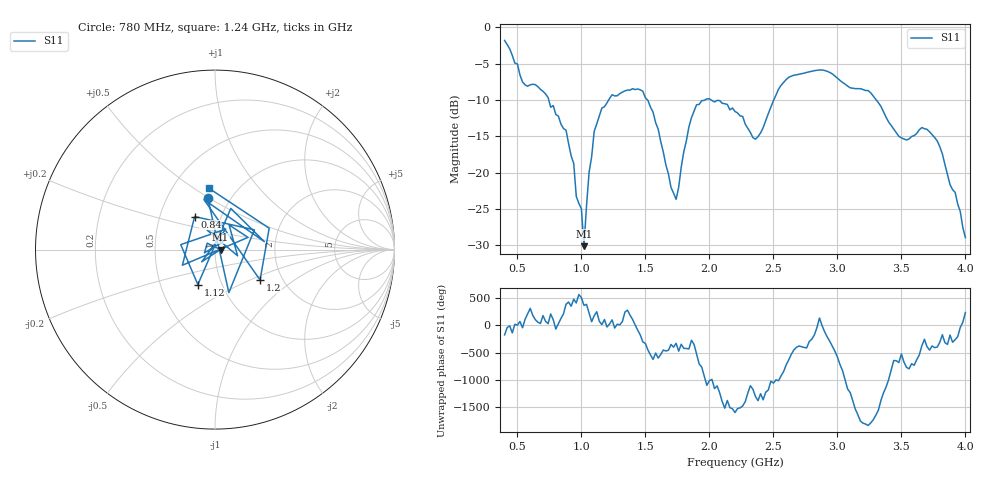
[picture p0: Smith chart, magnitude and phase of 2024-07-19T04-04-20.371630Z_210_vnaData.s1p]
!Created with skrf (http://scikit-rf.org).
# Hz S RI R 50.0
!freq ReS11 ImS11
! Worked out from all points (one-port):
!   181 points, 400 MHz to 4 GHz, reference 50 ohm
!   lowest |S11| = -30.1 dB at 1.02 GHz (marker M1), VSWR 1.06, Z = 53.2 - j0.0155 ohm
!   |S11| at or under -10 dB: 745.1 MHz to 1.212 GHz (467.4 MHz wide, 47.8 % of centre); 2.015 GHz to 2.503 GHz (487.5 MHz wide, 21.6 % of centre); 3.304 GHz to end of sweep (the widest 3 of 4)
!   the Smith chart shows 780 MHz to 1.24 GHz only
!   S11 on the Smith chart (normalised r, x): 780 MHz: 0.79, +0.49; 840 MHz: 0.75, +0.29; 1.12 GHz: 0.77, -0.31; 1.2 GHz: 1.54, -0.57; 1.24 GHz: 0.74, +0.58
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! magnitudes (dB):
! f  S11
! 400 MHz  -1.8
! 540 MHz  -7.5
! 780 MHz  -10.8
! 840 MHz  -13.3
! 860 MHz  -13.9
! 940 MHz  -18.7
! 960 MHz  -23.3
! 1 GHz  -25.0
! 1.02 GHz  -30.1
! 1.06 GHz  -19.9
! 1.12 GHz  -13.3
! 1.2 GHz  -10.4
! 1.24 GHz  -9.3
! 1.3 GHz  -9.1
! 1.48 GHz  -8.8
! 1.6 GHz  -14.0
! 1.7 GHz  -22.0
! 1.76 GHz  -22.0
! 1.84 GHz  -13.7
! 1.9 GHz  -10.6
! 2.2 GHz  -11.6
! 2.36 GHz  -15.4
! 2.66 GHz  -6.6
! 3.1 GHz  -8.3
! 3.24 GHz  -8.7
! 3.56 GHz  -15.4
! 3.78 GHz  -15.6
! 4 GHz  -28.9
